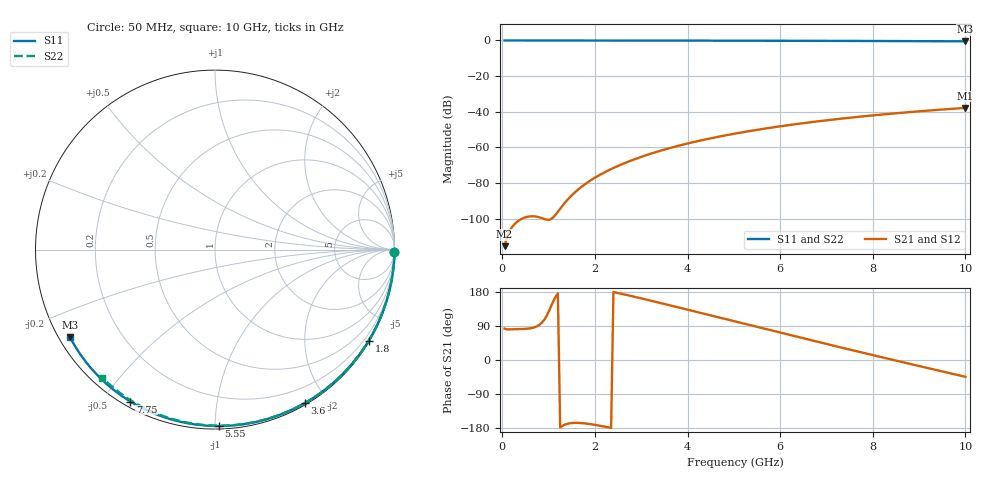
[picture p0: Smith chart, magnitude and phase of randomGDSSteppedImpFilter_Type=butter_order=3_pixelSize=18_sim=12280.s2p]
! freq	dB(S11)	phase(S11)	dB(S12)	phase(S12)
!  dB(S21)	phase(S21)	dB(S22)	phase(S22)
!S-par simulation data
#  GHz  S  DB  R 50
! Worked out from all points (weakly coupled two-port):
!   200 points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, 50 MHz to 10 GHz, reference 50 ohm
!   highest |S21| = -37.79 dB at 10 GHz (marker M1); lowest = -115.3 dB at 50 MHz (marker M2)
!   lowest |S11| = -0.5 dB at 10 GHz (marker M3), VSWR 34.68, Z = 1.55 - j13.9 ohm
!   |S11| at or under -10 dB: nowhere
!   |S22| runs from -0.4 to 0.0 dB; largest |S21 - S12| = 0
!   S11 on the Smith chart (normalised r, x): 50 MHz: open; 1.8 GHz: 0.03, -3.66; 3.6 GHz: 0.02, -1.74; 5.55 GHz: 0.02, -1.02; 7.75 GHz: 0.02, -0.59; 10 GHz: 0.03, -0.28
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0.05  -0.00 -0.9  -115.34 82.8  -115.34 82.8  -0.00 -0.8
0.45  -0.01 -7.8  -99.63 81.9  -99.63 81.9  -0.01 -6.8
0.9  -0.02 -15.5  -100.07 105.1  -100.07 105.1  -0.02 -13.6
1.3  -0.03 -22.2  -92.62 -173.7  -92.62 -173.7  -0.02 -19.5
1.75  -0.04 -29.8  -81.29 -166.9  -81.29 -166.9  -0.03 -26.2
1.8  -0.04 -30.6  -80.34 -167.6  -80.34 -167.6  -0.03 -26.9
1.85  -0.04 -31.4  -79.44 -168.3  -79.44 -168.3  -0.04 -27.6
2.05  -0.04 -34.7  -76.19 -172.2  -76.19 -172.2  -0.04 -30.6
2.2  -0.05 -37.2  -74.06 -175.6  -74.06 -175.6  -0.04 -32.7
2.5  -0.05 -42.1  -70.33 176.7  -70.33 176.7  -0.05 -37.1
2.9  -0.06 -48.6  -66.19 165.5  -66.19 165.5  -0.06 -42.8
3.4  -0.08 -56.5  -61.94 150.8  -61.94 150.8  -0.07 -49.8
3.6  -0.08 -59.6  -60.46 144.9  -60.46 144.9  -0.07 -52.6
4.3  -0.10 -70.4  -55.98 123.7  -55.98 123.7  -0.09 -62.2
5.05  -0.13 -81.6  -52.10 100.9  -52.10 100.9  -0.11 -72.1
5.55  -0.15 -88.8  -49.91 85.7  -49.91 85.7  -0.13 -78.6
6.1  -0.17 -96.6  -47.77 69.1  -47.77 69.1  -0.15 -85.5
6.7  -0.20 -104.9  -45.71 51.2  -45.71 51.2  -0.18 -93.0
7.75  -0.28 -119.1  -42.66 20.2  -42.66 20.2  -0.24 -105.5
8.35  -0.33 -127.1  -41.17 2.8  -41.17 2.8  -0.29 -112.5
9.2  -0.41 -138.3  -39.31 -21.6  -39.31 -21.6  -0.36 -122.3
10  -0.50 -148.9  -37.79 -44.3  -37.79 -44.3  -0.44 -131.3
